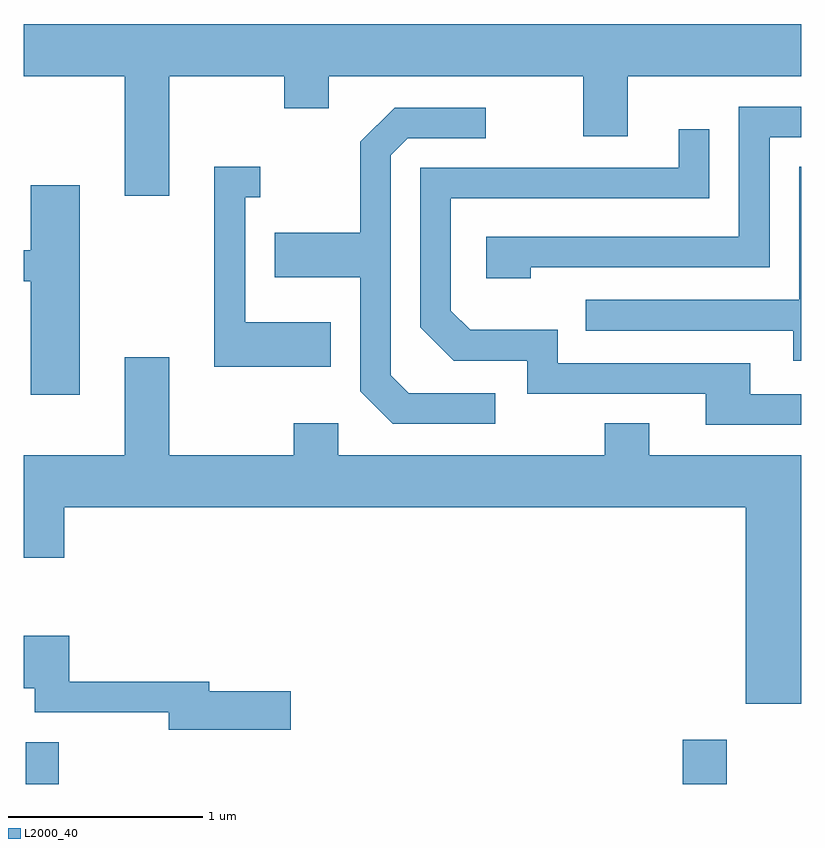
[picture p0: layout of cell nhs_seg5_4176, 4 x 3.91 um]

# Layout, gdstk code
import gdstk
lib = gdstk.Library(unit=1e-6, precision=1e-09)
def R(c, l, rs):  # rectangles x0, y0, x1, y1
    for r in rs: c.add(gdstk.rectangle(r[:2], r[2:], *l))
def P(c, l, *ps):  # polygons
    for p in ps: c.add(gdstk.Polygon(p, *l))
L2000_40 = (2000, 40)

nhs_seg5_4176 = lib.new_cell('nhs_seg5_4176')
R(nhs_seg5_4176, L2000_40, [(309.621,1422.072,309.789,1422.288), (313.001,1422.072,313.229,1422.299)])
P(nhs_seg5_4176, L2000_40, [(310.359,1425.716),(310.951,1425.716),(310.951,1425.551),(311.179,1425.551),(311.179,1425.716),(312.491,1425.716),(312.491,1425.406),(312.719,1425.406),(312.719,1425.716),(313.611,1425.716),(313.611,1425.984),(309.611,1425.984),(309.611,1425.716),(310.131,1425.716),(310.131,1425.101),(310.359,1425.101)],
  [(312.219,1424.731),(313.449,1424.731),(313.449,1425.401),(313.611,1425.401),(313.611,1425.559),(313.291,1425.559),(313.291,1424.889),(311.991,1424.889),(311.991,1424.676),(312.219,1424.676)],
  [(312.038,1424.084),(311.592,1424.084),(311.499,1424.177),(311.499,1425.309),(311.587,1425.396),(311.988,1425.396),(311.988,1425.554),(311.519,1425.554),(311.341,1425.377),(311.341,1424.909),(310.901,1424.909),(310.901,1424.681),(311.341,1424.681),(311.341,1424.094),(311.509,1423.926),(312.038,1423.926)],
  [(313.611,1424.079),(313.349,1424.079),(313.349,1424.239),(312.359,1424.239),(312.359,1424.409),(311.907,1424.409),(311.809,1424.507),(311.809,1425.086),(313.139,1425.086),(313.139,1425.443),(312.981,1425.443),(312.981,1425.244),(311.651,1425.244),(311.651,1424.424),(311.824,1424.251),(312.201,1424.251),(312.201,1424.081),(313.121,1424.081),(313.121,1423.921),(313.611,1423.921)],
  [(313.611,1425.249),(313.601,1425.249),(313.601,1424.564),(312.503,1424.564),(312.503,1424.406),(313.571,1424.406),(313.571,1424.251),(313.611,1424.251)],
  [(311.189,1424.449),(310.749,1424.449),(310.749,1425.091),(310.828,1425.091),(310.828,1425.249),(310.591,1425.249),(310.591,1424.221),(311.189,1424.221)],
  [(309.899,1425.154),(309.646,1425.154),(309.646,1424.819),(309.611,1424.819),(309.611,1424.661),(309.646,1424.661),(309.646,1424.076),(309.899,1424.076)],
  [(313.326,1422.486),(313.611,1422.486),(313.611,1423.764),(312.829,1423.764),(312.829,1423.929),(312.601,1423.929),(312.601,1423.764),(311.229,1423.764),(311.229,1423.929),(311.001,1423.929),(311.001,1423.764),(310.359,1423.764),(310.359,1424.269),(310.131,1424.269),(310.131,1423.764),(309.611,1423.764),(309.611,1423.236),(309.819,1423.236),(309.819,1423.496),(313.326,1423.496)],
  [(310.984,1422.549),(310.564,1422.549),(310.564,1422.599),(309.844,1422.599),(309.844,1422.834),(309.611,1422.834),(309.611,1422.566),(309.666,1422.566),(309.666,1422.441),(310.356,1422.441),(310.356,1422.351),(310.984,1422.351)])

lib.write_gds('nhs_seg5_4176.gds')
